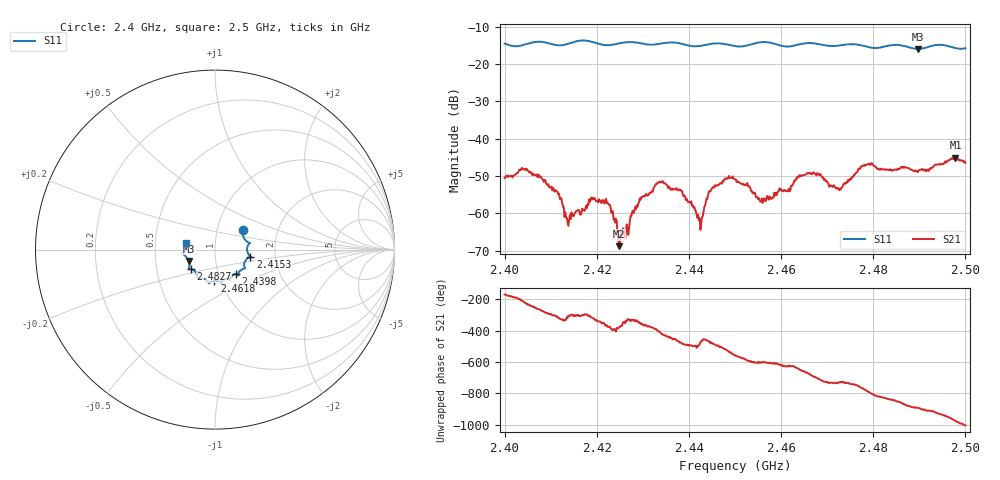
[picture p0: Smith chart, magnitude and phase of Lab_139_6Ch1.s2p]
# Hz S RI R 50
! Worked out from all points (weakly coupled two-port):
!   601 points, 2.4 GHz to 2.5 GHz, reference 50 ohm
!   highest |S21| = -45.10 dB at 2.4978 GHz (marker M1); lowest = -68.8 dB at 2.4248 GHz (marker M2)
!   lowest |S11| = -15.9 dB at 2.4897 GHz (marker M3), VSWR 1.38, Z = 36.9 - j4.8 ohm
!   |S11| at or under -10 dB: start of sweep to end of sweep
!   S12 and S22 are empty: the file has one direction only
!   S11 on the Smith chart (normalised r, x): 2.4 GHz: 1.33, +0.29; 2.4153 GHz: 1.48, -0.12; 2.4398 GHz: 1.21, -0.34; 2.4618 GHz: 0.94, -0.33; 2.4827 GHz: 0.75, -0.17; 2.5 GHz: 0.72, +0.06
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2.4e9  0.1552 0.1069  -0.00294 -0.000471  0 0  0 0
2.405e9  0.1839 0.0399  -0.00213 0.00308  0 0  0 0
2.411333e9  0.1793 0.00993  0.00122 0.00155  0 0  0 0
2.4135e9  0.1842 -0.0213  0.000609 0.000624  0 0  0 0
2.415333e9  0.197 -0.0392  0.0006 0.000832  0 0  0 0
2.416667e9  0.2029 -0.0433  0.00058 0.000819  0 0  0 0
2.422333e9  0.1654 -0.0689  0.00134 -0.000398  0 0  0 0
2.424833e9  0.164 -0.0956  0.000336 -0.00014  0 0  0 0
2.433333e9  0.1298 -0.1337  0.00183 -0.00183  0 0  0 0
2.439833e9  0.1153 -0.1358  -0.00095 -0.00104  0 0  0 0
2.4425e9  0.0916 -0.1499  -0.000253 -0.000548  0 0  0 0
2.444833e9  0.084 -0.1676  -0.000852 -0.00189  0 0  0 0
2.45e9  0.0657 -0.1619  -0.00273 0.000859  0 0  0 0
2.455667e9  0.0379 -0.1932  -0.000682 0.00129  0 0  0 0
2.461833e9  -0.00344 -0.173  -0.000154 0.00197  0 0  0 0
2.466667e9  -0.0348 -0.1882  0.00281 0.00181  0 0  0 0
2.4725e9  -0.0759 -0.1603  0.00207 -0.000453  0 0  0 0
2.482667e9  -0.1351 -0.1086  -0.00141 -0.00359  0 0  0 0
2.483333e9  -0.1401 -0.108  -0.00176 -0.00337  0 0  0 0
2.489667e9  -0.1468 -0.0634  -0.00355 -0.000445  0 0  0 0
2.497833e9  -0.1642 0.00246  -0.00127 0.00541  0 0  0 0
2.5e9  -0.1591 0.0384  0.00128 0.00458  0 0  0 0
